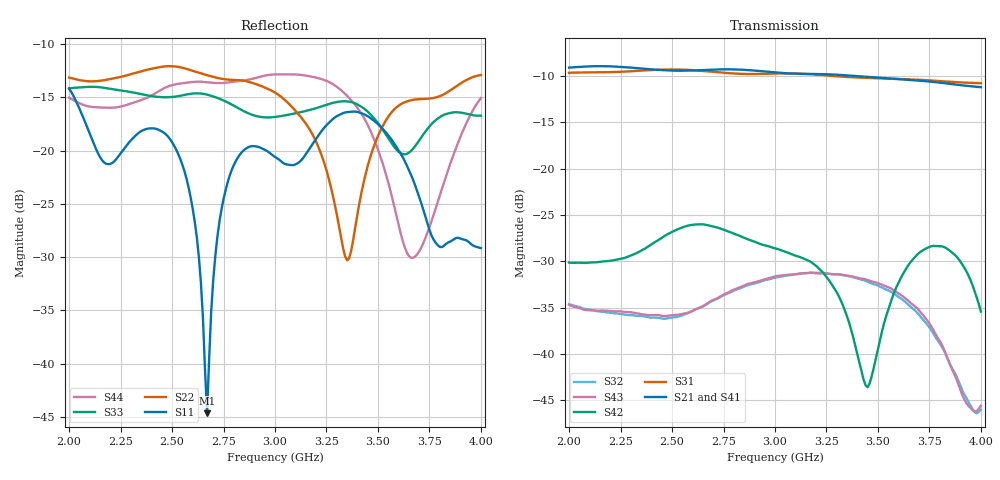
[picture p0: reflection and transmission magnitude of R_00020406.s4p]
!Agilent Technologies,N5224A,MY51441093,A.09.90.21
!Agilent N5224A: A.09.90.21
!Date: Friday, December 19, 2025 16:46:15
!Correction: S11(Full 4 Port(1,2,3,4))
!S12(Full 4 Port(1,2,3,4))
!S13(Full 4 Port(1,2,3,4))
!S14(Full 4 Port(1,2,3,4))
!S21(Full 4 Port(1,2,3,4))
!S22(Full 4 Port(1,2,3,4))
!S23(Full 4 Port(1,2,3,4))
!S24(Full 4 Port(1,2,3,4))
!S31(Full 4 Port(1,2,3,4))
!S32(Full 4 Port(1,2,3,4))
!S33(Full 4 Port(1,2,3,4))
!S34(Full 4 Port(1,2,3,4))
!S41(Full 4 Port(1,2,3,4))
!S42(Full 4 Port(1,2,3,4))
!S43(Full 4 Port(1,2,3,4))
!S44(Full 4 Port(1,2,3,4))
!S4P File: Measurements: <S11,S12,S13,S14>,
!<S21,S22,S23,S24>,
!<S31,S32,S33,S34>,
!<S41,S42,S43,S44>:
# Hz S  dB  R 50
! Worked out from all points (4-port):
!   201 points, 2 GHz to 4 GHz, reference 50 ohm
!   strongest paths, dB at 2 GHz, 2.5 GHz, 3 GHz, 3.5 GHz, 4 GHz:
!     S21: -9.1, -9.4, -9.6, -10.2, -11.2
!     S41: -9.1, -9.3, -9.7, -10.2, -11.0
!     S31: -9.6, -9.3, -9.7, -10.2, -10.8
!     S42: -30.1, -26.8, -28.6, -39.5, -35.4
!     S43: -34.7, -35.8, -31.6, -32.3, -45.6
!     S32: -34.6, -36.1, -31.8, -32.6, -46.0
!   lowest |S11| = -44.7 dB at 2.67 GHz (marker M1), VSWR 1.01, Z = 50.3 - j0.519 ohm
!   |S11| at or under -10 dB: start of sweep to end of sweep
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2e9  -14.18 -52.2  -9.06 144.4  -9.59 -123.8  -9.24 -169.8
     -9.09 144.4  -13.15 -68.5  -34.59 -146.8  -30.27 150.6
     -9.65 -123.7  -34.62 -146.6  -14.17 -5.3  -34.87 -101.9
     -9.12 -169.6  -30.13 150.9  -34.70 -101.9  -15.04 3.7
2.53e9  -20.33 -105.1  -9.39 -117.5  -9.23 -32.9  -9.45 -75.2
        -9.43 -117.6  -12.15 179.9  -35.92 70.8  -26.65 164.5
        -9.30 -32.9  -35.96 70.8  -14.90 -154.1  -35.93 113.5
        -9.33 -75.2  -26.51 164.7  -35.75 113.5  -13.74 -137.0
2.67e9  -44.66 -61.9  -9.30 174.2  -9.41 -103.9  -9.33 -144.5
        -9.33 174.1  -12.93 152.3  -34.57 -46.5  -26.22 75.1
        -9.48 -103.9  -34.61 -46.3  -14.75 173.4  -34.72 -4.5
        -9.22 -144.4  -26.08 75.2  -34.54 -4.5  -13.59 -174.1
2.86e9  -19.80 -44.5  -9.29 78.6  -9.70 162.4  -9.40 118.8
        -9.34 78.5  -13.48 120.5  -32.60 148.2  -27.69 -32.0
        -9.78 162.6  -32.62 148.4  -16.42 138.4  -32.68 -172.6
        -9.31 119.0  -27.56 -31.7  -32.51 -172.6  -13.38 146.6
3.35e9  -16.39 -91.6  -9.89 -165.9  -10.01 -80.6  -10.17 -122.9
        -9.93 -165.9  -30.30 83.4  -31.53 76.8  -36.04 74.7
        -10.10 -80.3  -31.57 77.1  -15.38 76.2  -31.68 120.1
        -10.11 -122.7  -35.95 74.8  -31.54 120.1  -14.86 19.7
3.67e9  -22.72 -152.0  -10.41 33.2  -10.28 122.1  -10.29 77.1
        -10.44 33.3  -15.24 78.3  -35.05 147.3  -29.84 10.2
        -10.37 122.5  -35.11 147.6  -19.84 58.8  -34.81 -165.4
        -10.25 77.5  -29.78 10.6  -34.68 -165.4  -30.07 -158.7
4e9  -29.15 -96.5  -11.15 -132.6  -10.68 -40.1  -11.06 -89.4
     -11.20 -132.4  -12.91 25.6  -45.98 125.0  -35.51 166.7
     -10.77 -39.5  -46.01 125.6  -16.72 27.2  -45.69 163.3
     -11.02 -88.7  -35.42 167.2  -45.58 164.0  -15.07 89.1
